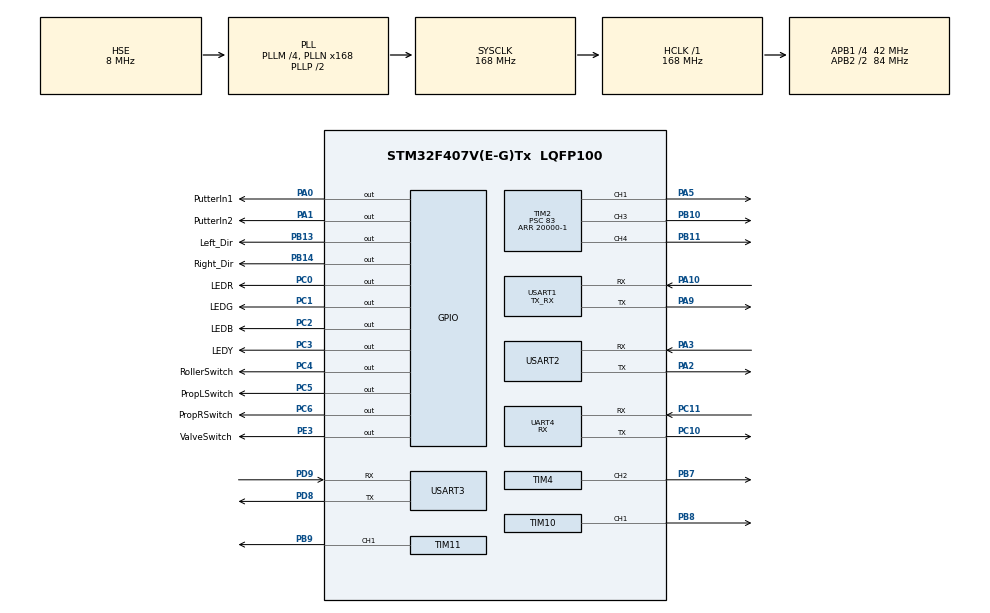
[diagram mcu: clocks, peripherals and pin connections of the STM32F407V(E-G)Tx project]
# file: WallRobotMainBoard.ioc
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Dma.Request0=UART4_RX
Dma.Request1=USART3_RX
Dma.Request2=USART2_RX
Dma.UART4_RX.0.Direction=DMA_PERIPH_TO_MEMORY
Dma.UART4_RX.0.FIFOMode=DMA_FIFOMODE_DISABLE
Dma.UART4_RX.0.Instance=DMA1_Stream2
Dma.UART4_RX.0.MemDataAlignment=DMA_MDATAALIGN_BYTE
Dma.UART4_RX.0.MemInc=DMA_MINC_ENABLE
Dma.UART4_RX.0.Mode=DMA_NORMAL
Dma.UART4_RX.0.PeriphDataAlignment=DMA_PDATAALIGN_BYTE
Dma.UART4_RX.0.PeriphInc=DMA_PINC_DISABLE
Dma.UART4_RX.0.Priority=DMA_PRIORITY_LOW
Dma.USART2_RX.2.Direction=DMA_PERIPH_TO_MEMORY
Dma.USART2_RX.2.FIFOMode=DMA_FIFOMODE_DISABLE
Dma.USART2_RX.2.Instance=DMA1_Stream5
Dma.USART2_RX.2.MemDataAlignment=DMA_MDATAALIGN_BYTE
Dma.USART2_RX.2.MemInc=DMA_MINC_ENABLE
Dma.USART2_RX.2.Mode=DMA_NORMAL
Dma.USART2_RX.2.PeriphDataAlignment=DMA_PDATAALIGN_BYTE
Dma.USART2_RX.2.PeriphInc=DMA_PINC_DISABLE
Dma.USART2_RX.2.Priority=DMA_PRIORITY_LOW
Dma.USART3_RX.1.Direction=DMA_PERIPH_TO_MEMORY
Dma.USART3_RX.1.FIFOMode=DMA_FIFOMODE_DISABLE
Dma.USART3_RX.1.Instance=DMA1_Stream1
Dma.USART3_RX.1.MemDataAlignment=DMA_MDATAALIGN_BYTE
Dma.USART3_RX.1.MemInc=DMA_MINC_ENABLE
Dma.USART3_RX.1.Mode=DMA_NORMAL
Dma.USART3_RX.1.PeriphDataAlignment=DMA_PDATAALIGN_BYTE
Dma.USART3_RX.1.PeriphInc=DMA_PINC_DISABLE
Dma.USART3_RX.1.Priority=DMA_PRIORITY_LOW
FREERTOS.INCLUDE_vTaskDelayUntil=1
FREERTOS.INCLUDE_xTaskGetHandle=1
FREERTOS.Tasks01=game_start,-1,128,GameStartTask,Default,NULL,Dynamic,NULL,NULL
FREERTOS.configGENERATE_RUN_TIME_STATS=1
FREERTOS.configUSE_STATS_FORMATTING_FUNCTIONS=1
FREERTOS.configUSE_TIMERS=1
FREERTOS.configUSE_TRACE_FACILITY=1
Mcu.Family=STM32F4
Mcu.Name=STM32F407V(E-G)Tx
Mcu.Package=LQFP100
NVIC.DMA1_Stream1_IRQn=true\:6\:0\:true\:false\:true\:true\:false\:true
NVIC.DMA1_Stream2_IRQn=true\:6\:0\:true\:true\:true\:1\:true\:false\:true
NVIC.DMA1_Stream5_IRQn=true\:5\:0\:false\:false\:true\:true\:false\:true
NVIC.PriorityGroup=NVIC_PRIORITYGROUP_4
NVIC.TIM1_UP_TIM10_IRQn=true\:0\:0\:false\:false\:true\:false\:false\:true
NVIC.TIM3_IRQn=true\:5\:0\:false\:false\:true\:true\:true\:true
NVIC.TimeBase=TIM1_UP_TIM10_IRQn
NVIC.TimeBaseIP=TIM1
NVIC.UART4_IRQn=true\:5\:0\:false\:true\:true\:2\:true\:true\:true
NVIC.USART2_IRQn=true\:5\:0\:false\:false\:true\:true\:true\:true
NVIC.USART3_IRQn=true\:5\:0\:false\:false\:true\:true\:true\:true
PA0-WKUP.GPIO_Label=PutterIn1
PA0-WKUP.GPIO_ModeDefaultOutputPP=GPIO_MODE_OUTPUT_PP
PA0-WKUP.GPIO_PuPd=GPIO_PULLDOWN
PA0-WKUP.GPIO_Speed=GPIO_SPEED_FREQ_LOW
PA0-WKUP.Signal=GPIO_Output
PA1.GPIO_Label=PutterIn2
PA1.GPIO_ModeDefaultOutputPP=GPIO_MODE_OUTPUT_PP
PA1.GPIO_PuPd=GPIO_PULLDOWN
PA1.Signal=GPIO_Output
PA10.Mode=Asynchronous
PA10.Signal=USART1_RX
PA13.Mode=Serial_Wire
PA13.Signal=SYS_JTMS-SWDIO
PA14.Mode=Serial_Wire
PA14.Signal=SYS_JTCK-SWCLK
PA2.Mode=Asynchronous
PA2.Signal=USART2_TX
PA3.Mode=Asynchronous
PA3.Signal=USART2_RX
PA5.Signal=S_TIM2_CH1_ETR
PA9.Mode=Asynchronous
PA9.Signal=USART1_TX
PB10.Signal=S_TIM2_CH3
PB11.Signal=S_TIM2_CH4
PB13.GPIO_Label=Left_Dir
PB13.GPIO_PuPd=GPIO_PULLDOWN
PB13.Signal=GPIO_Output
PB14.GPIO_Label=Right_Dir
PB14.GPIO_PuPd=GPIO_PULLDOWN
PB14.Signal=GPIO_Output
PB7.Signal=S_TIM4_CH2
PB8.Signal=S_TIM10_CH1
PB9.Signal=S_TIM11_CH1
PC0.GPIO_Label=LEDR
PC0.GPIO_ModeDefaultOutputPP=GPIO_MODE_OUTPUT_PP
PC0.GPIO_PuPd=GPIO_PULLUP
PC0.PinState=GPIO_PIN_SET
PC0.Signal=GPIO_Output
PC1.GPIO_Label=LEDG
PC1.GPIO_ModeDefaultOutputPP=GPIO_MODE_OUTPUT_PP
PC1.GPIO_PuPd=GPIO_PULLUP
PC1.PinState=GPIO_PIN_SET
PC1.Signal=GPIO_Output
PC10.Mode=Asynchronous
PC10.Signal=UART4_TX
PC11.Mode=Asynchronous
PC11.Signal=UART4_RX
PC14-OSC32_IN.Mode=LSE-External-Oscillator
PC14-OSC32_IN.Signal=RCC_OSC32_IN
PC15-OSC32_OUT.Mode=LSE-External-Oscillator
PC15-OSC32_OUT.Signal=RCC_OSC32_OUT
PC2.GPIO_Label=LEDB
PC2.GPIO_ModeDefaultOutputPP=GPIO_MODE_OUTPUT_PP
PC2.GPIO_PuPd=GPIO_PULLUP
PC2.PinState=GPIO_PIN_SET
PC2.Signal=GPIO_Output
PC3.GPIO_Label=LEDY
PC3.GPIO_ModeDefaultOutputPP=GPIO_MODE_OUTPUT_PP
PC3.GPIO_PuPd=GPIO_PULLUP
PC3.PinState=GPIO_PIN_SET
PC3.Signal=GPIO_Output
PC4.GPIO_Label=RollerSwitch
PC4.GPIO_ModeDefaultOutputPP=GPIO_MODE_OUTPUT_PP
PC4.GPIO_PuPd=GPIO_PULLDOWN
PC4.PinState=GPIO_PIN_RESET
PC4.Signal=GPIO_Output
PC5.GPIO_Label=PropLSwitch
PC5.GPIO_ModeDefaultOutputPP=GPIO_MODE_OUTPUT_PP
PC5.GPIO_PuPd=GPIO_PULLDOWN
PC5.GPIO_Speed=GPIO_SPEED_FREQ_LOW
PC5.Signal=GPIO_Output
PC6.GPIO_Label=PropRSwitch
PC6.GPIO_ModeDefaultOutputPP=GPIO_MODE_OUTPUT_PP
PC6.GPIO_PuPd=GPIO_PULLDOWN
PC6.GPIO_Speed=GPIO_SPEED_FREQ_LOW
PC6.Signal=GPIO_Output
PD8.Mode=Asynchronous
PD8.Signal=USART3_TX
PD9.Mode=Asynchronous
PD9.Signal=USART3_RX
PE3.GPIO_Label=ValveSwitch
PE3.GPIO_PuPd=GPIO_PULLDOWN
PE3.Signal=GPIO_Output
PH0-OSC_IN.Mode=HSE-External-Oscillator
PH0-OSC_IN.Signal=RCC_OSC_IN
PH1-OSC_OUT.Mode=HSE-External-Oscillator
PH1-OSC_OUT.Signal=RCC_OSC_OUT
ProjectManager.HeapSize=0x200
ProjectManager.StackSize=0x400
ProjectManager.TargetToolchain=Makefile
RCC.48MHZClocksFreq_Value=84000000
RCC.AHBFreq_Value=168000000
RCC.APB1CLKDivider=RCC_HCLK_DIV4
RCC.APB1Freq_Value=42000000
RCC.APB1TimFreq_Value=84000000
RCC.APB2CLKDivider=RCC_HCLK_DIV2
RCC.APB2Freq_Value=84000000
RCC.APB2TimFreq_Value=168000000
RCC.CortexFreq_Value=168000000
RCC.HCLKFreq_Value=168000000
RCC.HSE_VALUE=8000000
RCC.HSI_VALUE=16000000
RCC.PLLM=4
RCC.PLLN=168
RCC.PLLSourceVirtual=RCC_PLLSOURCE_HSE
RCC.SYSCLKFreq_VALUE=168000000
RCC.SYSCLKSource=RCC_SYSCLKSOURCE_PLLCLK
RCC.VCOOutputFreq_Value=336000000
SH.S_TIM10_CH1.0=TIM10_CH1,PWM Generation1 CH1
SH.S_TIM11_CH1.0=TIM11_CH1,PWM Generation1 CH1
SH.S_TIM2_CH1_ETR.0=TIM2_CH1,PWM Generation1 CH1
SH.S_TIM2_CH3.0=TIM2_CH3,PWM Generation3 CH3
SH.S_TIM2_CH4.0=TIM2_CH4,PWM Generation4 CH4
SH.S_TIM4_CH2.0=TIM4_CH2,PWM Generation2 CH2
TIM10.Channel=TIM_CHANNEL_1
TIM10.Period=0
TIM10.Prescaler=167
TIM11.Channel=TIM_CHANNEL_1
TIM11.Period=0
TIM11.Prescaler=167
TIM2.Channel-PWM\ Generation1\ CH1=TIM_CHANNEL_1
TIM2.Channel-PWM\ Generation3\ CH3=TIM_CHANNEL_3
TIM2.Channel-PWM\ Generation4\ CH4=TIM_CHANNEL_4
TIM2.OCPolarity_1=TIM_OCPOLARITY_LOW
TIM2.OCPolarity_3=TIM_OCPOLARITY_LOW
TIM2.OCPolarity_4=TIM_OCPOLARITY_LOW
TIM2.Period=20000-1
TIM2.Prescaler=83
TIM3.Period=49
TIM3.Prescaler=83
TIM4.Channel-PWM\ Generation2\ CH2=TIM_CHANNEL_2
TIM4.OCPolarity_2=TIM_OCPOLARITY_LOW
TIM4.Period=19999
TIM4.Prescaler=83
UART4.Mode=MODE_RX
UART4.VirtualMode=Asynchronous
USART1.Mode=MODE_TX_RX
USART1.VirtualMode=VM_ASYNC
USART2.VirtualMode=VM_ASYNC
USART3.VirtualMode=VM_ASYNC
VP_FREERTOS_VS_CMSIS_V1.Mode=CMSIS_V1
VP_SYS_VS_tim1.Mode=TIM1
VP_TIM10_VS_ClockSourceINT.Mode=Enable_Timer
VP_TIM11_VS_ClockSourceINT.Mode=Enable_Timer
VP_TIM2_VS_ClockSourceINT.Mode=Internal
VP_TIM3_VS_ClockSourceINT.Mode=Internal
VP_TIM4_VS_ClockSourceINT.Mode=Internal
board=custom

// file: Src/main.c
/* USER CODE BEGIN Header */
/**
  ******************************************************************************
  * @file           : main.c
  * @brief          : Main program body
  ******************************************************************************
  * @attention
  *
  * <h2><center>&copy; Copyright (c) 2021 STMicroelectronics.
  * All rights reserved.</center></h2>
  *
  * This software component is licensed by ST under Ultimate Liberty license
  * SLA0044, the "License"; You may not use this file except in compliance with
  * the License. You may obtain a copy of the License at:
  *                             www.st.com/SLA0044
  *
  ******************************************************************************
  */
/* USER CODE END Header */
#include "main.h"
#include "cmsis_os.h"
#include "dma.h"
#include "tim.h"
#include "usart.h"
#include "gpio.h"

/* USER CODE BEGIN PD */

#define START_TASK_PIRO 1// smaller the number is lower the piority is
#define START_STACK_SIZE 128
TaskHandle_t Start_Task_Handler;
void start_task(void *pvParameters);

#define TASK_STATE_DISPLAY_PIRO 0
#define TASK_STATE_DISPLAY_STACK_SIZE 256
TaskHandle_t Task_State_Handler;
void task_state_display(void *pvParameters);

#define LED_TASK_PIRO 2
#define LED_STACK_SZIE 64
TaskHandle_t LED_TASK_Handler;
void led_task(void *pvParameters);

#define ESC_INIT_TASK_PIRO 1
#define ESC_INIT_STACK_SIZE 128
TaskHandle_t ESC_TASK_Handler;
void esc_init_task(void *pvParameters);

#define ROBOT_UNLOCK_TASK_PIRO 1
#define ROBOT_UNLOCK_STACK_SIZE 64
TaskHandle_t ROBOT_UNLOCK_Handler;
void unlockRobotDectect(void *pvParameters);

#define VALVE_TASK_PIRO 4
#define VALVE_STACK_SIZE 64
TaskHandle_t VALVE_TASK_Handler;
void valve_task(void *pvParameters );

#define PUTTER_TASK_PIRO 2
#define PUTTER_STACK_SIZE 64
TaskHandle_t PUTTER_TASK_Handler;
void putter_task( void *pvParamters );

#define PRINT_TASK_PIRO 5
#define PRINT_STACK_SIZE 64
TaskHandle_t PRINT_TASK_Handler;
void print_task( void * pvParameters );

#define IMU_RECEIVE_TASK_PRIO 6
#define IMU_RECEIVE_STACK_SIZE 512
TaskHandle_t IMU_RECEIVE_TASK_Handler;
void imu_receive_task(void *pvParameters );

#define LORA_RECEIVE_TASK_PRIO 6
#define LORA_RECEIVE_STACK_SIZE 512
TaskHandle_t LORA_RECEIVE_TASK_Handler;
void lora_receive_task(void *pvParameters);

#define MODBUS_TASK_PIRO 5
#define MODBUS_TASK_STACK_SIZE 256
TaskHandle_t MODBUS_TASK_Handler;
void modbus_move_task(void *pvParameters);

#define PUMP_TASK_PIRO 2
#define PUMP_STACK_SIZE 64
TaskHandle_t PUMP_TASK_Handler;
void pump_task(void *pvParameters);

#define MODBUS_SAFECHECK_TASK_PIRO 5
#define MODBUS_SAFECHECK_STACK_SIZE 128
TaskHandle_t MODBUS_TASK_Handler;
void modbus_safecheck_task(void *pvParameters);

#define ROLLER_TASK_PIRO 3
#define ROLLER_TASK_STACK_SIZE 64
TaskHandle_t ROLLER_TASK_Handler;
void roller_task(void *pvParameters);

#define INNER_LOOP_TASK_PIRO 4
#define INNER_LOOP_TASK_STACK_SIZE 128
TaskHandle_t INNER_TASK_Handler;
void inner_loop(void *pvParameters);

#define OUTER_LOOP_TASK_PIRO 4
#define OUTER_LOOP_TASK_STACK_SIZE 128
TaskHandle_t OUTER_TASK_Handler;
void outer_loop(void *pvParameters);

#define MANUAL_CALI_TASK_PIRO 5
#define MANUAL_CALI_TASK_STACK_SIZE 128
TaskHandle_t MANUAL_TASK_Handler;
void manual_cali(void * pvParameters);

#define BALANCE_CHECK_TASK_PIRO 3
#define BALANCE_CHEKC_TASK_STACK_SIZE 128
TaskHandle_t BALANCE_TASK_Handler;
void balance_check(void * pvParameters);

#define PROP_CONTROL_TASK_PIRO 3
#define PROP_CONTROL_TASK_STACK_SIZE 128
TaskHandle_t PROP_TASK_Handler;
void propeller_control(void * pvParameters);
/* USER CODE END PD */

/* USER CODE BEGIN PV */
SemaphoreHandle_t IMUReadyToRECEIVE_Semaphore;
SemaphoreHandle_t LORARedyToRECEIVE_Semaphore;
SemaphoreHandle_t MODBUSReadyToRECEIVE_Semaphore;
TimerHandle_t FiveSecModbusProtectTimer;
/* USER CODE END PV */

void SystemClock_Config(void);
void MX_FREERTOS_Init(void);
static void MX_NVIC_Init(void);

int main(void)
{

  /* MCU Configuration--------------------------------------------------------*/

  /* Reset of all peripherals, Initializes the Flash interface and the Systick. */
  HAL_Init();

  /* Configure the system clock */
  SystemClock_Config();

  /* Initialize all configured peripherals */
  MX_GPIO_Init();
  MX_DMA_Init();
  MX_USART1_UART_Init();
  MX_UART4_Init();
  MX_USART3_UART_Init();
  MX_TIM2_Init();
  MX_TIM4_Init();
  MX_TIM3_Init();
  MX_USART2_UART_Init();
  MX_TIM10_Init();
  MX_TIM11_Init();

  /* Initialize interrupts */
  MX_NVIC_Init();
  /* USER CODE BEGIN 2 */
  IMUReadyToRECEIVE_Semaphore=xSemaphoreCreateBinary();
  LORARedyToRECEIVE_Semaphore=xSemaphoreCreateBinary();
  MODBUSReadyToRECEIVE_Semaphore=xSemaphoreCreateBinary();
  xTaskCreate((TaskFunction_t)esc_init_task,
              (const char *)"esc_init_task",
              (uint16_t)ESC_INIT_STACK_SIZE,
              (void *)NULL,
              (UBaseType_t)ESC_INIT_TASK_PIRO,
              (TaskHandle_t *)&ESC_TASK_Handler);

  xTaskCreate((TaskFunction_t)lora_receive_task,
              (const char *)"lora_receive_task",
              (uint16_t)LORA_RECEIVE_STACK_SIZE,
              (void * )NULL,
              (UBaseType_t)LORA_RECEIVE_TASK_PRIO,
              (TaskHandle_t * )&LORA_RECEIVE_TASK_Handler);

  xTaskCreate((TaskFunction_t)start_task,
              (const char *)"start_task",
              (uint16_t)START_STACK_SIZE,
              (void*)NULL,
              (UBaseType_t)START_TASK_PIRO,
              (TaskHandle_t *)&Start_Task_Handler);

  xTaskCreate((TaskFunction_t)unlockRobotDectect,
                (const char *)"robot_unlock_task",
                (uint16_t)ROBOT_UNLOCK_STACK_SIZE,
                (void *)NULL,
                (UBaseType_t)ROBOT_UNLOCK_TASK_PIRO,
                (TaskHandle_t *)&ROBOT_UNLOCK_Handler);

  /* USER CODE END 2 */

  /* Call init function for freertos objects (in freertos.c) */
  MX_FREERTOS_Init();
  /* Start scheduler */
  osKernelStart();

  /* We should never get here as control is now taken by the scheduler */
  /* Infinite loop */
  while (1)
  {

  }
}

void SystemClock_Config(void)
{
  RCC_OscInitTypeDef RCC_OscInitStruct = {0};
  RCC_ClkInitTypeDef RCC_ClkInitStruct = {0};

  /** Configure the main internal regulator output voltage
  */
  __HAL_RCC_PWR_CLK_ENABLE();
  __HAL_PWR_VOLTAGESCALING_CONFIG(PWR_REGULATOR_VOLTAGE_SCALE1);
  /** Initializes the RCC Oscillators according to the specified parameters
  * in the RCC_OscInitTypeDef structure.
  */
  RCC_OscInitStruct.OscillatorType = RCC_OSCILLATORTYPE_HSE;
  RCC_OscInitStruct.HSEState = RCC_HSE_ON;
  RCC_OscInitStruct.PLL.PLLState = RCC_PLL_ON;
  RCC_OscInitStruct.PLL.PLLSource = RCC_PLLSOURCE_HSE;
  RCC_OscInitStruct.PLL.PLLM = 4;
  RCC_OscInitStruct.PLL.PLLN = 168;
  RCC_OscInitStruct.PLL.PLLP = RCC_PLLP_DIV2;
  RCC_OscInitStruct.PLL.PLLQ = 4;
  if (HAL_RCC_OscConfig(&RCC_OscInitStruct) != HAL_OK)
  {
    Error_Handler();
  }
  /** Initializes the CPU, AHB and APB buses clocks
  */
  RCC_ClkInitStruct.ClockType = RCC_CLOCKTYPE_HCLK|RCC_CLOCKTYPE_SYSCLK
                              |RCC_CLOCKTYPE_PCLK1|RCC_CLOCKTYPE_PCLK2;
  RCC_ClkInitStruct.SYSCLKSource = RCC_SYSCLKSOURCE_PLLCLK;
  RCC_ClkInitStruct.AHBCLKDivider = RCC_SYSCLK_DIV1;
  RCC_ClkInitStruct.APB1CLKDivider = RCC_HCLK_DIV4;
  RCC_ClkInitStruct.APB2CLKDivider = RCC_HCLK_DIV2;

  if (HAL_RCC_ClockConfig(&RCC_ClkInitStruct, FLASH_LATENCY_5) != HAL_OK)
  {
    Error_Handler();
  }
}

/**
  * @brief NVIC Configuration.
  * @retval None
  */
static void MX_NVIC_Init(void)
{
  /* DMA1_Stream2_IRQn interrupt configuration */
  HAL_NVIC_SetPriority(DMA1_Stream2_IRQn, 6, 0);
  HAL_NVIC_EnableIRQ(DMA1_Stream2_IRQn);
  /* UART4_IRQn interrupt configuration */
  HAL_NVIC_SetPriority(UART4_IRQn, 5, 0);
  HAL_NVIC_EnableIRQ(UART4_IRQn);
}

/* USER CODE BEGIN 4 */

void start_task(void *pvParameters){
  uint32_t NotifyValue=0;
  for(;;){
    NotifyValue=ulTaskNotifyTake(pdTRUE,100);
    if(NotifyValue!=0){
      vTaskDelete(ROBOT_UNLOCK_Handler);
      taskENTER_CRITICAL( );
      xTaskCreate((TaskFunction_t)led_task,
                  (const char *)"led_task",
                  (uint16_t)LED_STACK_SZIE,
                  (void *)NULL,
                  (UBaseType_t)LED_TASK_PIRO,
                  (TaskHandle_t*)&LED_TASK_Handler);

      xTaskCreate((TaskFunction_t)modbus_move_task,
                  (const char *)"modbus_move_task",
                  (uint16_t)MODBUS_TASK_STACK_SIZE,
                  (void *)NULL,
                  (UBaseType_t)MODBUS_TASK_PIRO,
                  (TaskHandle_t *)&MODBUS_TASK_Handler);

                  /*
      xTaskCreate((TaskFunction_t)imu_receive_task,
                  (const char*)"imu_receive_task",
                  (uint16_t)IMU_RECEIVE_STACK_SIZE,
                  (void *)NULL,
                  (UBaseType_t)IMU_RECEIVE_TASK_PRIO,
                  (TaskHandle_t *)&IMU_RECEIVE_TASK_Handler);
                  */
 /*
      xTaskCreate((TaskFunction_t)modbus_safecheck_task,
                  (const char *)"modbus_safecheck_task",
                  (uint16_t)MODBUS_SAFECHECK_STACK_SIZE,
                  (void *)NULL,
                  (UBaseType_t)MODBUS_SAFECHECK_TASK_PIRO,
                  (TaskHandle_t *)&MODBUS_TASK_Handler);
      */
     /*
      FiveSecModbusProtectTimer=xTimerCreate((const char*)"5s timer",
                                            (TickType_t)5000,
                                            (UBaseType_t)pdFALSE,
                                            (void *)0,
                                            (TimerCallbackFunction_t)FiveSecModbusProtectCallback);
    */
    //valve task
    /*
      xTaskCreate((TaskFunction_t)valve_task,
                  (const char *)"valve_control_task",
                  (uint16_t)VALVE_STACK_SIZE,
                  (void *)NULL,
                  (UBaseType_t)VALVE_TASK_PIRO,
                  (TaskHandle_t *)&VALVE_TASK_Handler);
    */
    /*
      xTaskCreate((TaskFunction_t)task_state_display,
                  (const char * )"task_state_display",
                  (uint16_t)TASK_STATE_DISPLAY_STACK_SIZE,
                  (void *)NULL,
                  (UBaseType_t)TASK_STATE_DISPLAY_PIRO,
                  (TaskHandle_t * )&Task_State_Handler);

      */

      //putter task
      /*
      xTaskCreate((TaskFunction_t)putter_task,
                  (const char *)"putter_task",
                  (uint16_t)PUTTER_STACK_SIZE,
                  (void *)NULL,
                  (UBaseType_t)PUTTER_TASK_PIRO,
                  (TaskHandle_t *)&PUTTER_TASK_Handler);
                  */

      //pump task
      /*
      xTaskCreate((TaskFunction_t)pump_task,
                  (const char *)"pump_task",
                  (uint16_t)PUMP_STACK_SIZE,
                  (void *)NULL,
                  (UBaseType_t)PUMP_TASK_PIRO,
                  (TaskHandle_t *)&PUMP_TASK_Handler);
                  */
      //roller task
      /*
      xTaskCreate((TaskFunction_t)roller_task,
                  (const char *)"roller_task",
                  (uint16_t)ROLLER_TASK_STACK_SIZE,
                  (void *)NULL,
                  (UBaseType_t)ROLLER_TASK_PIRO,
                  (TaskHandle_t *)&ROLLER_TASK_Handler);

      xTaskCreate((TaskFunction_t)balance_check,
                  (const char *)"balance_check",
                  (uint16_t)BALANCE_CHEKC_TASK_STACK_SIZE,
                  (void*)NULL,
                  (UBaseType_t)BALANCE_CHECK_TASK_PIRO,
                  (TaskHandle_t *)&BALANCE_TASK_Handler);

      xTaskCreate((TaskFunction_t)manual_cali,
                  (const char *)"manual_cali",
                  (uint16_t)MANUAL_CALI_TASK_STACK_SIZE,
                  (void *)NULL,
                  (UBaseType_t)MANUAL_CALI_TASK_PIRO,
                  (TaskHandle_t*)&MANUAL_TASK_Handler);

      xTaskCreate((TaskFunction_t)inner_loop,
                  (const char *)"inner_loop",
                  (uint16_t)INNER_LOOP_TASK_STACK_SIZE,
                  (void *)NULL,
                  (UBaseType_t)INNER_LOOP_TASK_PIRO,
                  (TaskHandle_t*)&INNER_TASK_Handler);

      xTaskCreate((TaskFunction_t)outer_loop,
                  (const char *)"outer_loop",
                  (uint16_t)OUTER_LOOP_TASK_STACK_SIZE,
                  (void *)NULL,
                  (UBaseType_t)OUTER_LOOP_TASK_PIRO,
                  (TaskHandle_t *)&OUTER_TASK_Handler);

      xTaskCreate((TaskFunction_t)propeller_control,
                  (const char *)"propeller_control",
                  (uint16_t)PROP_CONTROL_TASK_STACK_SIZE,
                  (void *)NULL,
                  (UBaseType_t)PROP_CONTROL_TASK_PIRO,
                  (TaskHandle_t* )&PROP_TASK_Handler);
                  */
      vTaskDelete(Start_Task_Handler);
      taskEXIT_CRITICAL();
    }
    else vTaskDelay(1000);
  }
}
/* USER CODE END 4 */

 /**
  * @brief  Period elapsed callback in non blocking mode
  * @note   This function is called  when TIM1 interrupt took place, inside
  * HAL_TIM_IRQHandler(). It makes a direct call to HAL_IncTick() to increment
  * a global variable "uwTick" used as application time base.
  * @param  htim : TIM handle
  * @retval None
  */
void HAL_TIM_PeriodElapsedCallback(TIM_HandleTypeDef *htim)
{
  if (htim->Instance == TIM1) {
    HAL_IncTick();
  }
}

void Error_Handler(void)
{
  __disable_irq();
  while (1)
  {
  }
}

/************************ (C) COPYRIGHT STMicroelectronics *****END OF FILE****/

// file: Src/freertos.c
/* USER CODE BEGIN Header */
/**
  ******************************************************************************
  * File Name          : freertos.c
  * Description        : Code for freertos applications
  ******************************************************************************
  * @attention
  *
  * <h2><center>&copy; Copyright (c) 2021 STMicroelectronics.
  * All rights reserved.</center></h2>
  *
  * This software component is licensed by ST under Ultimate Liberty license
  * SLA0044, the "License"; You may not use this file except in compliance with
  * the License. You may obtain a copy of the License at:
  *                             www.st.com/SLA0044
  *
  ******************************************************************************
  */
/* USER CODE END Header */

#include "FreeRTOS.h"
#include "task.h"
#include "main.h"
#include "cmsis_os.h"

/* USER CODE BEGIN Includes */
#include "imu.h"
#include "taskstatedisplay.h"
/* USER CODE END Includes */

osThreadId game_startHandle;

void GameStartTask(void const * argument);

void MX_FREERTOS_Init(void); /* (MISRA C 2004 rule 8.1) */

/* GetIdleTaskMemory prototype (linked to static allocation support) */
void vApplicationGetIdleTaskMemory( StaticTask_t **ppxIdleTaskTCBBuffer, StackType_t **ppxIdleTaskStackBuffer, uint32_t *pulIdleTaskStackSize );

/* GetTimerTaskMemory prototype (linked to static allocation support) */
void vApplicationGetTimerTaskMemory( StaticTask_t **ppxTimerTaskTCBBuffer, StackType_t **ppxTimerTaskStackBuffer, uint32_t *pulTimerTaskStackSize );

/* Hook prototypes */
void configureTimerForRunTimeStats(void);
unsigned long getRunTimeCounterValue(void);

/* USER CODE BEGIN 1 */
/* Functions needed when configGENERATE_RUN_TIME_STATS is on */
__weak void configureTimerForRunTimeStats(void)
{
  FreeRTOSRunTimeTicks=0ul;
}

__weak unsigned long getRunTimeCounterValue(void)
{
  return FreeRTOSRunTimeTicks;
//return 0;
}
/* USER CODE END 1 */

/* USER CODE BEGIN GET_IDLE_TASK_MEMORY */
static StaticTask_t xIdleTaskTCBBuffer;
static StackType_t xIdleStack[configMINIMAL_STACK_SIZE];

void vApplicationGetIdleTaskMemory( StaticTask_t **ppxIdleTaskTCBBuffer, StackType_t **ppxIdleTaskStackBuffer, uint32_t *pulIdleTaskStackSize )
{
  *ppxIdleTaskTCBBuffer = &xIdleTaskTCBBuffer;
  *ppxIdleTaskStackBuffer = &xIdleStack[0];
  *pulIdleTaskStackSize = configMINIMAL_STACK_SIZE;
  /* place for user code */
}
/* USER CODE END GET_IDLE_TASK_MEMORY */

/* USER CODE BEGIN GET_TIMER_TASK_MEMORY */
static StaticTask_t xTimerTaskTCBBuffer;
static StackType_t xTimerStack[configTIMER_TASK_STACK_DEPTH];

void vApplicationGetTimerTaskMemory( StaticTask_t **ppxTimerTaskTCBBuffer, StackType_t **ppxTimerTaskStackBuffer, uint32_t *pulTimerTaskStackSize )
{
  *ppxTimerTaskTCBBuffer = &xTimerTaskTCBBuffer;
  *ppxTimerTaskStackBuffer = &xTimerStack[0];
  *pulTimerTaskStackSize = configTIMER_TASK_STACK_DEPTH;
  /* place for user code */
}
/* USER CODE END GET_TIMER_TASK_MEMORY */

void MX_FREERTOS_Init(void) {

  /* Create the thread(s) */
  /* definition and creation of game_start */
  osThreadDef(game_start, GameStartTask, osPriorityBelowNormal, 0, 128);
  game_startHandle = osThreadCreate(osThread(game_start), NULL);

}

void GameStartTask(void const * argument)
{
  for(;;)
  {
    osDelay(1);
  }
}

/************************ (C) COPYRIGHT STMicroelectronics *****END OF FILE****/
